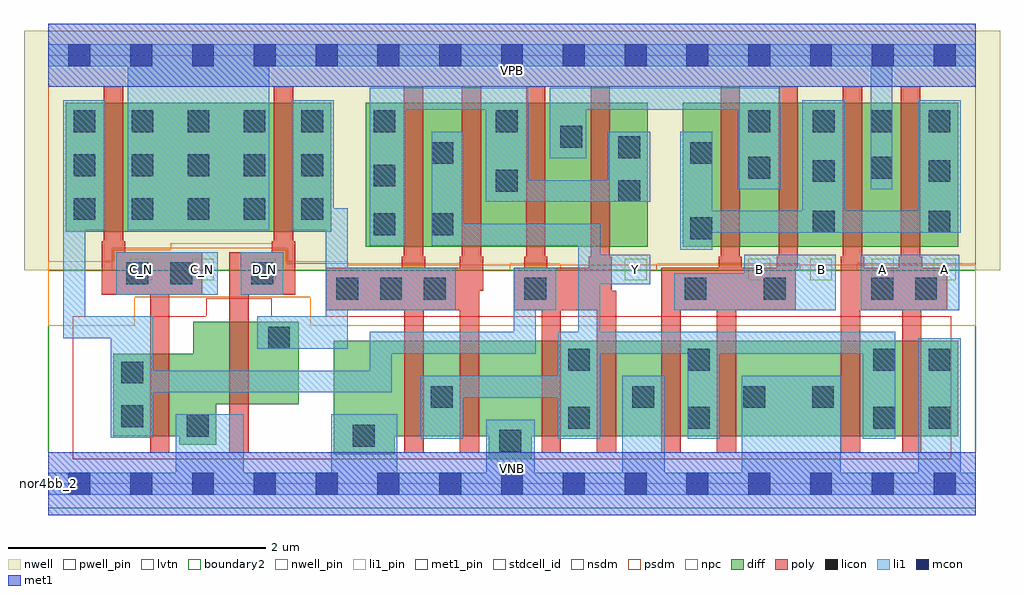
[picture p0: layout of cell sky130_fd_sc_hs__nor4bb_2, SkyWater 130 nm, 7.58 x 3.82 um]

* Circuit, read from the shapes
.subckt sky130_fd_sc_hs__nor4bb_2 A B C_N D_N VGND VNB VPB VPWR Y
XM1 VGND C_N n1 VNB sky130_fd_pr__nfet_01v8_lvt w=0.64 l=0.15
XM2 n2 D_N VGND VNB sky130_fd_pr__nfet_01v8_lvt w=0.64 l=0.15
XM3 Y n2 VGND VNB sky130_fd_pr__nfet_01v8_lvt w=0.74 l=0.15 m=2
XM4 Y n1 VGND VNB sky130_fd_pr__nfet_01v8_lvt w=0.74 l=0.15 m=2
XM5 Y B VGND VNB sky130_fd_pr__nfet_01v8_lvt w=0.74 l=0.15 m=2
XM6 Y A VGND VNB sky130_fd_pr__nfet_01v8_lvt w=0.74 l=0.15 m=2
XM7 VPWR C_N n1 VPB sky130_fd_pr__pfet_01v8 w=1 l=0.15
XM8 n2 D_N VPWR VPB sky130_fd_pr__pfet_01v8 w=1 l=0.15
XM9 Y n2 n3 VPB sky130_fd_pr__pfet_01v8 w=1.12 l=0.15 m=2
XM10 n4 n1 n3 VPB sky130_fd_pr__pfet_01v8 w=1.12 l=0.15 m=2
XM11 n4 B n5 VPB sky130_fd_pr__pfet_01v8 w=1.12 l=0.15 m=2
XM12 VPWR A n5 VPB sky130_fd_pr__pfet_01v8 w=1.12 l=0.15 m=2
.ends

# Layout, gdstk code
import gdstk
lib = gdstk.Library(unit=1e-6, precision=1e-09)
def R(c, l, rs):  # rectangles x0, y0, x1, y1
    for r in rs: c.add(gdstk.rectangle(r[:2], r[2:], *l))
def A(c, l, x, y, w, h, nx, ny, dx, dy):  # array of equal rectangles
    R(c, l, [(x+i*dx, y+j*dy, x+i*dx+w, y+j*dy+h) for i in range(nx) for j in range(ny)])
def P(c, l, *ps):  # polygons
    for p in ps: c.add(gdstk.Polygon(p, *l))
nwell_pin = (64, 16)
nwell = (64, 20)
diff = (65, 20)
poly = (66, 20)
licon = (66, 44)
li1_pin = (67, 16)
li1 = (67, 20)
mcon = (67, 44)
met1_pin = (68, 16)
met1 = (68, 20)
stdcell_id = (81, 4)
nsdm = (93, 44)
psdm = (94, 20)
npc = (95, 20)
pwell_pin = (122, 16)
lvtn = (125, 44)
boundary2 = (236, 0)

sky130_fd_sc_hs__nor4bb_ = lib.new_cell('sky130_fd_sc_hs__nor4bb_2')
R(sky130_fd_sc_hs__nor4bb_, nwell_pin, [(0,3.085,7.2,3.33)])
R(sky130_fd_sc_hs__nor4bb_, nwell, [(-0.19,1.66,7.39,3.52)])
R(sky130_fd_sc_hs__nor4bb_, diff, [(2.465,1.84,4.655,2.96), (4.925,1.84,7.065,2.96), (0.135,1.96,2.195,2.96)])
P(sky130_fd_sc_hs__nor4bb_, diff, [(1.945,1.26),(1.125,1.26),(1.125,1.01),(0.505,1.01),(0.505,0.37),(1.015,0.37),(1.015,0.305),(1.305,0.305),(1.305,0.62),(1.945,0.62)],
  [(7.065,1.11),(2.215,1.11),(2.215,0.23),(2.69,0.23),(2.69,0.37),(3.42,0.37),(3.42,0.19),(3.755,0.19),(3.755,0.37),(7.065,0.37)])
P(sky130_fd_sc_hs__nor4bb_, poly, [(6.98,1.68),(6.785,1.68),(6.785,1.765),(6.77,1.765),(6.77,3.09),(6.62,3.09),(6.62,1.765),(6.605,1.765),(6.605,1.68),(6.335,1.68),(6.335,1.765),(6.32,1.765),(6.32,3.09),(6.17,3.09),(6.17,1.765),(6.155,1.765),(6.155,0.24),(6.305,0.24),(6.305,1.35),(6.63,1.35),(6.63,0.24),(6.78,0.24),(6.78,1.35),(6.98,1.35)],
  [(5.82,3.09),(5.67,3.09),(5.67,1.765),(5.655,1.765),(5.655,1.68),(5.385,1.68),(5.385,1.765),(5.37,1.765),(5.37,3.09),(5.22,3.09),(5.22,1.765),(5.205,1.765),(5.205,1.68),(4.76,1.68),(4.76,0.24),(4.91,0.24),(4.91,1.35),(5.19,1.35),(5.19,0.24),(5.34,0.24),(5.34,1.35),(5.805,1.35),(5.805,1.68),(5.82,1.68)],
  [(4.41,1.5),(4.375,1.5),(4.375,1.765),(4.36,1.765),(4.36,3.09),(4.21,3.09),(4.21,1.765),(4.195,1.765),(4.195,1.68),(3.875,1.68),(3.875,1.765),(3.86,1.765),(3.86,3.09),(3.71,3.09),(3.71,1.765),(3.695,1.765),(3.695,1.68),(3.615,1.68),(3.615,1.35),(3.83,1.35),(3.83,0.24),(3.98,0.24),(3.98,1.35),(4.26,1.35),(4.26,0.24),(4.41,0.24)],
  [(3.375,1.765),(3.36,1.765),(3.36,3.09),(3.21,3.09),(3.21,1.765),(3.195,1.765),(3.195,1.68),(2.925,1.68),(2.925,1.765),(2.91,1.765),(2.91,3.09),(2.76,3.09),(2.76,1.765),(2.745,1.765),(2.745,1.68),(2.155,1.68),(2.155,1.35),(2.765,1.35),(2.765,0.24),(2.915,0.24),(2.915,1.35),(3.195,1.35),(3.195,0.24),(3.345,0.24),(3.345,1.5),(3.375,1.5)],
  [(1.915,1.885),(1.9,1.885),(1.9,3.09),(1.75,3.09),(1.75,1.885),(1.735,1.885),(1.735,1.8),(1.405,1.8),(1.405,0.24),(1.555,0.24),(1.555,1.47),(1.915,1.47)],
  [(1.195,1.8),(0.595,1.8),(0.595,1.885),(0.58,1.885),(0.58,3.09),(0.43,3.09),(0.43,1.885),(0.415,1.885),(0.415,1.47),(0.79,1.47),(0.79,0.24),(0.94,0.24),(0.94,1.47),(1.195,1.47)])
A(sky130_fd_sc_hs__nor4bb_, licon, 2.235, 1.43, 0.17, 0.17, 3, 1, 0.34, 0)
A(sky130_fd_sc_hs__nor4bb_, licon, 0.195, 2.05, 0.17, 0.17, 1, 3, 0, 0.34)
A(sky130_fd_sc_hs__nor4bb_, licon, 0.645, 2.05, 0.17, 0.17, 3, 3, 0.435, 0.34)
A(sky130_fd_sc_hs__nor4bb_, licon, 1.965, 2.05, 0.17, 0.17, 1, 3, 0, 0.34)
A(sky130_fd_sc_hs__nor4bb_, licon, 5.935, 2.73, 0.17, 0.17, 3, 1, 0.45, 0)
R(sky130_fd_sc_hs__nor4bb_, licon, [(3.5,0.25,3.67,0.42), (2.365,0.29,2.535,0.46), (1.075,0.365,1.245,0.535), (4.035,0.43,4.205,0.6), (4.965,0.43,5.135,0.6), (6.405,0.43,6.575,0.6), (6.835,0.43,7.005,0.6), (0.565,0.44,0.735,0.61), (2.97,0.59,3.14,0.76), (4.535,0.59,4.705,0.76), (5.395,0.59,5.565,0.76), (5.93,0.59,6.1,0.76), (0.565,0.78,0.735,0.95), (4.035,0.88,4.205,1.05), (4.965,0.88,5.135,1.05), (6.405,0.88,6.575,1.05), (6.835,0.88,7.005,1.05), (1.705,1.05,1.875,1.22), (3.695,1.43,3.865,1.6), (4.94,1.43,5.11,1.6), (5.555,1.43,5.725,1.6), (6.39,1.43,6.56,1.6), (6.73,1.43,6.9,1.6), (0.605,1.55,0.775,1.72), (0.945,1.55,1.115,1.72), (1.575,1.55,1.745,1.72), (4.985,1.9,5.155,2.07), (2.525,1.93,2.695,2.1), (2.975,1.93,3.145,2.1), (5.935,1.95,6.105,2.12), (6.835,1.95,7.005,2.12), (4.425,2.19,4.595,2.36), (3.475,2.27,3.645,2.44), (2.525,2.31,2.695,2.48), (5.935,2.345,6.105,2.515), (6.835,2.345,7.005,2.515), (5.435,2.37,5.605,2.54), (6.385,2.37,6.555,2.54), (2.975,2.485,3.145,2.655), (4.985,2.485,5.155,2.655), (4.425,2.53,4.595,2.7), (3.975,2.61,4.145,2.78), (2.525,2.73,2.695,2.9), (3.475,2.73,3.645,2.9), (5.435,2.73,5.605,2.9)])
A(sky130_fd_sc_hs__nor4bb_, li1_pin, 0.635, 1.58, 0.17, 0.17, 3, 1, 0.48, 0)
A(sky130_fd_sc_hs__nor4bb_, li1_pin, 5.435, 1.58, 0.17, 0.17, 4, 1, 0.48, 0)
R(sky130_fd_sc_hs__nor4bb_, li1_pin, [(4.475,1.58,4.645,1.75)])
R(sky130_fd_sc_hs__nor4bb_, li1, [(4.86,1.35,5.425,1.635), (5.405,1.35,6.115,1.78), (6.31,1.35,7.075,1.78), (0.525,1.47,1.315,1.8), (1.495,1.47,1.825,1.8)])
P(sky130_fd_sc_hs__nor4bb_, li1, [(0,-0.085),(0,0.085),(0.99,0.085),(0.99,0.54),(1.515,0.54),(1.515,0.085),(2.195,0.085),(2.195,0.54),(2.71,0.54),(2.71,0.085),(3.4,0.085),(3.4,0.5),(3.775,0.5),(3.775,0.085),(4.455,0.085),(4.455,0.84),(4.785,0.84),(4.785,0.085),(5.385,0.085),(5.385,0.84),(6.155,0.84),(6.155,0.085),(6.755,0.085),(6.755,1.13),(7.085,1.13),(7.085,0.085),(7.2,0.085),(7.2,-0.085)],
  [(0,3.245),(0,3.415),(7.2,3.415),(7.2,3.245),(6.555,3.245),(6.555,2.29),(6.385,2.29),(6.385,3.245),(1.715,3.245),(1.715,1.97),(0.615,1.97),(0.615,3.245)],
  [(3.225,2.02),(4.285,2.02),(4.285,1.78),(4.675,1.78),(4.675,1.55),(4.285,1.55),(4.285,1.18),(6.575,1.18),(6.575,0.35),(6.325,0.35),(6.325,1.01),(5.215,1.01),(5.215,0.35),(4.965,0.35),(4.965,1.01),(4.285,1.01),(4.285,0.35),(3.955,0.35),(3.955,0.67),(3.22,0.67),(3.22,0.35),(2.89,0.35),(2.89,0.84),(3.955,0.84),(3.955,1.18),(4.115,1.18),(4.115,1.85),(2.975,1.85),(2.975,2.735),(3.225,2.735)],
  [(6.185,2.12),(6.755,2.12),(6.755,2.98),(7.085,2.98),(7.085,1.95),(5.155,1.95),(5.155,1.82),(4.905,1.82),(4.905,2.735),(5.155,2.735),(5.155,2.12),(5.855,2.12),(5.855,2.98),(6.185,2.98)],
  [(5.355,2.905),(4.175,2.905),(4.175,2.53),(3.895,2.53),(3.895,3.075),(5.685,3.075),(5.685,2.29),(5.355,2.29)],
  [(3.395,2.905),(2.775,2.905),(2.775,1.85),(2.495,1.85),(2.495,3.075),(3.725,3.075),(3.725,2.36),(4.345,2.36),(4.345,2.735),(4.675,2.735),(4.675,2.19),(3.395,2.19)],
  [(2.215,2.14),(2.325,2.14),(2.325,1.68),(3.165,1.68),(3.165,1.35),(2.325,1.35),(2.325,1.05),(1.62,1.05),(1.62,1.3),(2.155,1.3),(2.155,1.97),(1.885,1.97),(1.885,2.98),(2.215,2.98)],
  [(3.945,1.68),(3.615,1.68),(3.615,1.18),(2.495,1.18),(2.495,0.88),(0.815,0.88),(0.815,1.3),(0.285,1.3),(0.285,1.97),(0.445,1.97),(0.445,2.98),(0.115,2.98),(0.115,1.13),(0.485,1.13),(0.485,0.36),(0.815,0.36),(0.815,0.71),(2.665,0.71),(2.665,1.01),(3.785,1.01),(3.785,1.35),(3.945,1.35)])
A(sky130_fd_sc_hs__nor4bb_, mcon, 0.155, -0.085, 0.17, 0.17, 15, 2, 0.48, 3.33)
R(sky130_fd_sc_hs__nor4bb_, met1_pin, [(0,0,7.2,0.245), (0,3.085,7.2,3.33)])
R(sky130_fd_sc_hs__nor4bb_, met1, [(0,-0.245,7.2,0.245), (0,3.085,7.2,3.575)])
R(sky130_fd_sc_hs__nor4bb_, stdcell_id, [(0,0,7.2,3.33)])
R(sky130_fd_sc_hs__nor4bb_, nsdm, [(0,-0.19,7.2,1.66)])
P(sky130_fd_sc_hs__nor4bb_, psdm, [(7.2,3.52),(0,3.52),(0,1.66),(0.495,1.66),(0.495,1.83),(1.855,1.83),(1.855,1.71),(3.195,1.71),(3.195,1.66),(3.585,1.66),(3.585,1.71),(3.975,1.71),(3.975,1.66),(4.725,1.66),(4.725,1.71),(5.835,1.71),(5.835,1.66),(6.28,1.66),(6.28,1.71),(7.2,1.71)])
P(sky130_fd_sc_hs__nor4bb_, npc, [(7.2,1.7),(2.325,1.7),(2.325,1.73),(1.845,1.73),(1.845,1.82),(1.74,1.82),(1.74,1.87),(0.95,1.87),(0.95,1.82),(0.505,1.82),(0.505,1.73),(0,1.73),(0,1.23),(0.67,1.23),(0.67,1.45),(2.035,1.45),(2.035,1.23),(7.2,1.23)])
R(sky130_fd_sc_hs__nor4bb_, pwell_pin, [(0,0,7.2,0.245)])
P(sky130_fd_sc_hs__nor4bb_, lvtn, [(7.01,1.3),(1.735,1.3),(1.735,1.44),(1.225,1.44),(1.225,1.3),(0.19,1.3),(0.19,0.19),(7.01,0.19)])
R(sky130_fd_sc_hs__nor4bb_, boundary2, [(0,0,7.2,3.33)])
sky130_fd_sc_hs__nor4bb_.add(gdstk.Label('nor4bb_2', (0,0), layer=83, texttype=44))
sky130_fd_sc_hs__nor4bb_.add(gdstk.Label('VNB', (3.6,0.123), layer=64, texttype=59))
sky130_fd_sc_hs__nor4bb_.add(gdstk.Label('VPB', (3.6,3.208), layer=64, texttype=5))
sky130_fd_sc_hs__nor4bb_.add(gdstk.Label('VPWR', (3.6,3.208), layer=68, texttype=5))
sky130_fd_sc_hs__nor4bb_.add(gdstk.Label('VGND', (3.6,0.123), layer=68, texttype=5))
sky130_fd_sc_hs__nor4bb_.add(gdstk.Label('C_N', (0.72,1.665), layer=67, texttype=5))
sky130_fd_sc_hs__nor4bb_.add(gdstk.Label('C_N', (1.2,1.665), layer=67, texttype=5))
sky130_fd_sc_hs__nor4bb_.add(gdstk.Label('D_N', (1.68,1.665), layer=67, texttype=5))
sky130_fd_sc_hs__nor4bb_.add(gdstk.Label('A', (6.48,1.665), layer=67, texttype=5))
sky130_fd_sc_hs__nor4bb_.add(gdstk.Label('A', (6.96,1.665), layer=67, texttype=5))
sky130_fd_sc_hs__nor4bb_.add(gdstk.Label('B', (5.52,1.665), layer=67, texttype=5))
sky130_fd_sc_hs__nor4bb_.add(gdstk.Label('B', (6,1.665), layer=67, texttype=5))
sky130_fd_sc_hs__nor4bb_.add(gdstk.Label('Y', (4.56,1.665), layer=67, texttype=5))

lib.write_gds('sky130_fd_sc_hs__nor4bb_2.gds')
